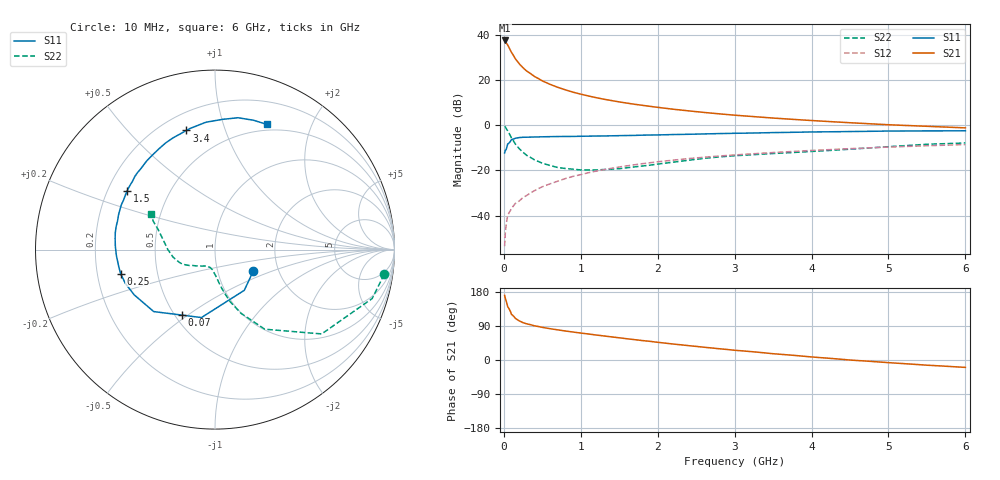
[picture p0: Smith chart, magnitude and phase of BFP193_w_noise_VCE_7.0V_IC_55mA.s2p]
! Infineon Technologies  Discrete & RF Semiconductors
! BFP193
! VCE =  7.0 V,  IC =  55 mA
! Common Emitter S-Parameters:  Jan 2017
# GHz  S  MA  R  50
!  f  S11  S21  S12  S22
! GHz  MAG  ANG  MAG  ANG  MAG  ANG  MAG  ANG
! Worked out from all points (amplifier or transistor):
!   77 points, 10 MHz to 6 GHz, reference 50 ohm
!   highest |S21| = 37.6 dB at 10 MHz (marker M1)
!   |S21| within 3 dB of that: start of sweep to 65.26 MHz
!   unconditionally stable (mu >= 1): 566.6 MHz to 2.383 GHz
!   at 130 MHz: K = 0.62, MSG = 33.1 dB, |S12| = -35.5 dB
!   at 2.2 GHz: K = 1.01, MAG = 10.7 dB, |S12| = -15.5 dB
!   at 6 GHz: K = 0.91, MSG = 3.7 dB, |S12| = -8.5 dB
!   lowest NFmin = 1.60 dB at 450 MHz
!   S11 on the Smith chart (normalised r, x): 10 MHz: 1.48, -0.38; 70 MHz: 0.54, -0.48; 250 MHz: 0.30, -0.11; 1.5 GHz: 0.28, +0.28; 3.4 GHz: 0.30, +0.74; 6 GHz: 0.43, +1.41
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0.01  0.2444 -29.3  75.66 170.4  0.0021 81.2  0.953 -8.3
0.02  0.2795 -54.3  73.68 162.0  0.0043 81.3  0.9171 -17.3
0.05  0.3862 -101.3  59.98 140.7  0.01 65.9  0.7578 -38.3
0.07  0.4081 -116.5  51.67 134.4  0.0117 64.2  0.6555 -44.5
0.1  0.4856 -134.7  40.96 120.4  0.0142 62.5  0.5231 -58.0
0.15  0.5159 -150.7  29.69 109.8  0.0186 59.0  0.3835 -67.8
0.2  0.5338 -159.3  23.05 103.3  0.0211 61.8  0.303 -73.7
0.25  0.5428 -165.7  18.76 98.5  0.0251 62.4  0.2513 -77.3
0.3  0.5446 -170.0  15.76 95.3  0.0281 65.5  0.2144 -80.5
0.4  0.5506 -176.7  11.99 90.1  0.0357 66.9  0.1708 -84.9
0.5  0.5554 178.2  9.635 86.1  0.0435 69.2  0.1446 -88.7
0.6  0.5596 173.9  8.08 82.6  0.0504 68.2  0.1286 -92.5
0.7  0.5634 170.4  6.937 79.6  0.0578 68.8  0.1162 -95.3
0.9  0.5661 163.4  5.408 73.8  0.0738 68.1  0.1066 -102.3
1.1  0.5742 157.5  4.456 68.6  0.0891 66.5  0.1027 -109.2
1.5  0.5891 146.1  3.292 58.6  0.119 62.6  0.1095 -123.8
2.1  0.6167 130.2  2.381 44.5  0.162 55.3  0.1451 -141.8
3.1  0.6679 109.0  1.625 24.1  0.2259 42.7  0.2163 -162.5
3.4  0.6825 103.5  1.488 18.6  0.2431 39.2  0.2316 -168.0
4.1  0.7138 92.5  1.246 6.5  0.2822 31.0  0.2688 177.4
5.1  0.7461 78.8  1.011 -8.3  0.3332 19.4  0.344 159.4
6  0.7552 67.5  0.876 -19.5  0.3738 9.4  0.4057 150.9
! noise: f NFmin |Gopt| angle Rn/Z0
0.45  1.6  0.45  -170  0.09
0.9  1.65  0.47  -163  0.09
1.9  2.29  0.62  -131  0.25
2.4  2.64  0.64  -118  0.51
